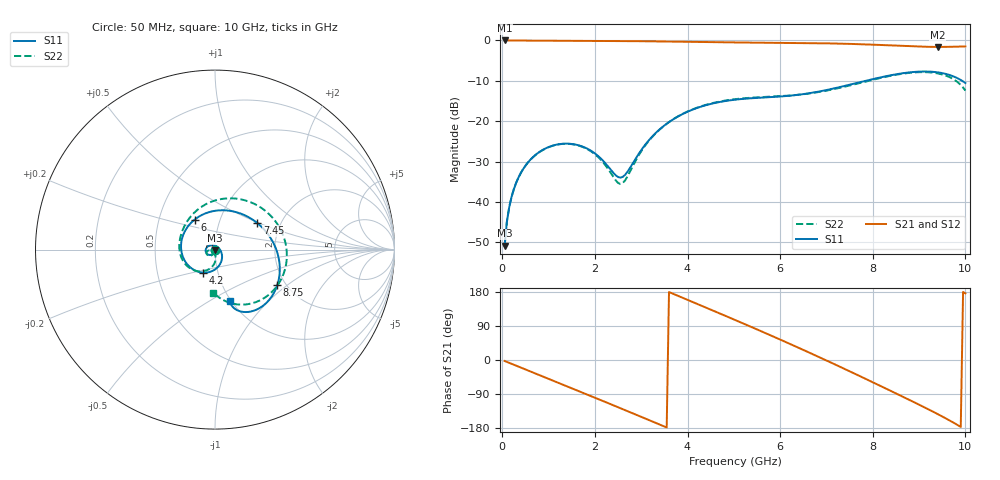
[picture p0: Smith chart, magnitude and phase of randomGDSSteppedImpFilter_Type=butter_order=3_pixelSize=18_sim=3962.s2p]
! freq	dB(S11)	phase(S11)	dB(S12)	phase(S12)
!  dB(S21)	phase(S21)	dB(S22)	phase(S22)
!S-par simulation data
#  GHz  S  DB  R 50
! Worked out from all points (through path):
!   200 points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, 50 MHz to 10 GHz, reference 50 ohm
!   highest |S21| = 0.00 dB at 50 MHz (marker M1); lowest = -1.6 dB at 9.4 GHz (marker M2)
!   group delay of S21, straight-line fit = 149 ps
!   lowest |S11| = -50.8 dB at 50 MHz (marker M3), VSWR 1.01, Z = 50 - j0.286 ohm
!   |S11| at or under -10 dB: start of sweep to 7.848 GHz; 9.928 GHz to end of sweep
!   |S22| runs from -51.0 to -7.8 dB; largest |S21 - S12| = 0
!   S11 on the Smith chart (normalised r, x): 50 MHz: 1.00, -0.01; 4.2 GHz: 0.84, -0.22; 6 GHz: 0.76, +0.26; 7.45 GHz: 1.52, +0.49; 8.75 GHz: 1.80, -0.85; 10 GHz: 0.98, -0.62
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0.05  -50.85 -92.4  -0.00 -2.5  -0.00 -2.5  -50.97 -91.5
0.1  -44.81 -94.8  -0.01 -5.1  -0.01 -5.1  -44.88 -93.3
0.2  -38.77 -99.9  -0.02 -10.0  -0.02 -10.0  -38.76 -97.8
0.55  -30.28 -119.6  -0.04 -27.4  -0.04 -27.4  -30.31 -114.6
1.1  -26.02 -151.6  -0.07 -54.7  -0.07 -54.7  -26.06 -139.7
1.75  -26.38 167.2  -0.11 -87.0  -0.11 -87.0  -26.47 -165.1
2.1  -28.95 137.9  -0.13 -104.5  -0.13 -104.5  -29.24 -172.3
2.55  -33.99 56.7  -0.15 -127.2  -0.15 -127.2  -35.56 -132.7
3.4  -22.01 -65.9  -0.24 -170.4  -0.24 -170.4  -22.05 -93.0
4.2  -16.75 -118.2  -0.38 148.5  -0.38 148.5  -16.67 -123.8
5.05  -14.65 -171.5  -0.50 104.4  -0.50 104.4  -14.52 -159.2
5.5  -14.23 158.8  -0.55 80.7  -0.55 80.7  -14.10 -177.4
6  -13.89 124.3  -0.59 54.0  -0.59 54.0  -13.80 162.4
6.7  -12.95 76.6  -0.67 15.6  -0.67 15.6  -13.02 131.8
7.05  -12.17 54.7  -0.73 -4.1  -0.73 -4.1  -12.32 114.0
7.45  -11.11 32.1  -0.84 -26.9  -0.84 -26.9  -11.31 91.1
7.9  -9.86 9.3  -1.00 -52.9  -1.00 -52.9  -10.03 62.6
8.35  -8.71 -11.8  -1.22 -79.2  -1.22 -79.2  -8.84 32.7
8.75  -7.97 -29.8  -1.42 -102.9  -1.42 -102.9  -8.08 5.4
9.4  -7.90 -57.8  -1.61 -142.5  -1.61 -142.5  -8.17 -40.5
9.7  -8.72 -68.8  -1.57 -162.3  -1.57 -162.3  -9.34 -64.0
10  -10.54 -74.1  -1.48 175.8  -1.48 175.8  -12.41 -92.3
